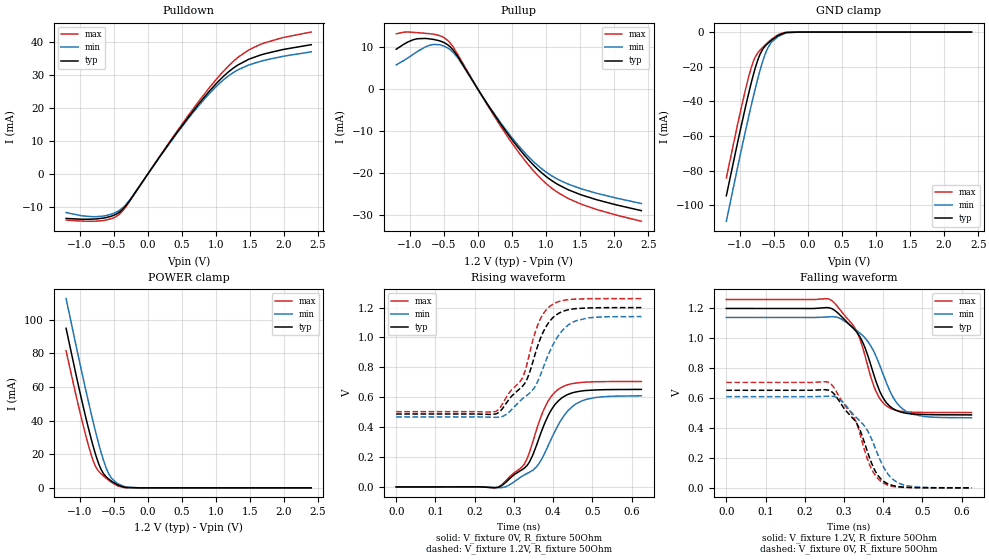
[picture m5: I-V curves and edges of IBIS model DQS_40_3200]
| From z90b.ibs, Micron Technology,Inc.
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| MODEL DQS_40_3200 (40 Ohm Data Strobe I/O with no ODT, 2933/3200Mbps)
[Model]   DQS_40_3200
Model_type   I/O
Vinl = 860.000mV
Vinh = 1060.000mV
Vmeas = 960.000mV
Vref = 1200.000mV
Cref = 0.0pF
Rref = 50.000Ohm
|   typ   min   max
|C_comp   1.049pF   0.999pF   1.100pF
C_comp_pullup   0.5245pF   0.4995pF   0.5500pF
C_comp_pulldown   0.5245pF   0.4995pF   0.5500pF
[Model Spec]
| Timing spec test load voltage corners
Vref   1.2000V   1.1400V   1.2600V
| Dynamic Overshoot Parameters from DDR4 Specification
|D_overshoot_ampl_h   0.40   NA   NA
|D_overshoot_ampl_l   0.40   NA   NA
|D_overshoot_area_h   0.0600n   NA   NA
|D_overshoot_area_l   0.0600n   NA   NA
[Voltage Range]   1.2000V   1.1400V   1.2600V
| Junction Temperature (Ambient temp is 35C typ, 95C min, 0C max)
[Temperature Range]   50.0   110.0   0.0
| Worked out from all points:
|   slope of the pulldown table from 0 to 0.18 V, typ, clamps not added: 33.4 ohm
|   slope of the pullup table from 0 to 0.18 V, typ, clamps not added: 39.3 ohm
|   GND clamp passes 1 mA (typ) near -0.38 V on its own axis
|   POWER clamp passes 1 mA (typ) near -0.39 V on its own axis
|   falling waveform, V_fixture 1.2V, R_fixture 50Ohm: 20-80 % time 66.8ps typ, 73.5ps min, 63.3ps max; typ from 1.2 V to 0.488 V
|   rising waveform, V_fixture 0V, R_fixture 50Ohm: 20-80 % time 68.3ps typ, 78.5ps min, 62.3ps max; typ from 0 V to 0.652 V
|   rising waveform, V_fixture 1.2V, R_fixture 50Ohm: 20-80 % time 75.1ps typ, 83.5ps min, 68.6ps max; typ from 0.488 V to 1.2 V
|   falling waveform, V_fixture 0V, R_fixture 50Ohm: 20-80 % time 73.3ps typ, 79.7ps min, 69.2ps max; typ from 0.653 V to 0 V
[Pulldown]
|   Voltage   I(typ)   I(min)   I(max)
-1.2V     -13.43mA   -11.66mA   -13.93mA
-754.8mV  -13.58mA   -12.9mA    -14.26mA
-517.1mV  -12.64mA   -12.03mA   -13.39mA
-423.8mV  -11.65mA   -11.1mA    -12.29mA
-270mV    -8.165mA   -7.973mA   -8.378mA
601.2mV   17.36mA    16.98mA    17.93mA
925mV     25.57mA    24.83mA    26.66mA
1.177V    30.79mA    29.6mA     32.55mA
1.479V    34.7mA     32.97mA    37.52mA
1.654V    36.02mA    34.12mA    39.24mA
1.963V    37.6mA     35.55mA    41.19mA
2.4V      39.15mA    37mA       42.99mA
[GND Clamp]
|   Voltage   I(typ)   I(min)   I(max)
-1.2V     -94.51mA   -109.2mA   -84.24mA
-1.036V   -64.1mA    -78.41mA   -53.66mA
-917.8mV  -43.12mA   -56.91mA   -33.02mA
-805.6mV  -25.07mA   -37.64mA   -17.24mA
-714mV    -13.7mA    -23.42mA   -10.84mA
-666.5mV  -10.01mA   -17.04mA   -8.855mA
-612mV    -7.375mA   -11.07mA   -6.793mA
-545.6mV  -5.017mA   -6.322mA   -4.491mA
-442.7mV  -2.105mA   -2.672mA   -1.609mA
-307.4mV  -214.1uA   -422uA     -99.1uA
-118.9mV  -745.9nA   -5.845uA   0A
2.402V    0A         0A         0A
[Pullup]
|   Voltage   I(typ)   I(min)   I(max)
-1.2V     9.581mA    5.839mA    13.27mA
-892.6mV  12.09mA    9.006mA    13.55mA
-672.2mV  11.98mA    10.67mA    13.23mA
-461.3mV  10.84mA    10.04mA    11.94mA
-285.6mV  7.582mA    7.277mA    8.03mA
121.7mV   -3.131mA   -3.034mA   -3.317mA
456.9mV   -11.11mA   -10.69mA   -11.84mA
744.8mV   -16.91mA   -16.17mA   -18.15mA
991.1mV   -20.73mA   -19.7mA    -22.41mA
1.177V    -22.81mA   -21.58mA   -24.75mA
1.509V    -25.22mA   -23.78mA   -27.45mA
2.4V      -29.04mA   -27.33mA   -31.58mA
[POWER Clamp]
|   Voltage   I(typ)   I(min)   I(max)
-1.2V     94.96mA    112.6mA    81.53mA
-1.053V   67.09mA    84.47mA    54.76mA
-919mV    43.33mA    59.74mA    32.42mA
-828.3mV  28.67mA    43.69mA    19.29mA
-793mV    23.47mA    37.71mA    15.21mA
-703.6mV  12.56mA    23.62mA    9.084mA
-610.6mV  6.555mA    11.8mA     5.673mA
-536.5mV  4.084mA    5.917mA    3.382mA
-452.8mV  1.964mA    2.761mA    1.364mA
-309.7mV  181.9uA    432.1uA    63.73uA
-118.9mV  410.4nA    5.836uA    0A
2.402V    0A         0A         0A
[Ramp]
R_load = 50
|   typ   min   max
dV/dt_r 3.9147E-01/6.8194E-11   3.6588E-01/7.8068E-11   4.2320E-01/6.1922E-11
dV/dt_f 4.2725E-01/6.6611E-11   4.0289E-01/7.3405E-11   4.5390E-01/6.3124E-11
[Falling Waveform]
V_fixture = 1.2V
V_fixture_min = 1.14V
V_fixture_max = 1.26V
R_fixture = 50Ohm
C_fixture = 0F
|   Time   V(typ)   V(min)   V(max)
0s        1.2V       1.14V      1.26V
263ps     1.204V     1.144V     1.262V
320ps     1.077V     1.079V     1.099V
340ps     1.013V     1.036V     999.6mV
355ps     927.1mV    998.2mV    869.7mV
377ps     748.4mV    906.4mV    674.3mV
405ps     580.3mV    723.8mV    555.1mV
434ps     517.2mV    570mV      517.8mV
469ps     495.5mV    498.1mV    506.9mV
625ps     487.9mV    468.5mV    503.5mV
[Rising Waveform]
V_fixture = 0V
V_fixture_min = 0V
V_fixture_max = 0V
R_fixture = 50Ohm
C_fixture = 0F
|   Time   V(typ)   V(min)   V(max)
0s        2.123uV    18.21uV    275.6nV
259ps     -3.194mV   -4.513mV   -2.126mV
320ps     113.8mV    70.22mV    131.4mV
337ps     156mV      94.59mV    211.2mV
357ps     273.9mV    132.9mV    376.9mV
377ps     416.1mV    217.4mV    520.9mV
411ps     569.3mV    404.1mV    648.4mV
439ps     620.1mV    513.2mV    684.9mV
473ps     642.1mV    575.1mV    699.5mV
625ps     652.4mV    609.8mV    705.3mV
[Rising Waveform]
V_fixture = 1.2V
V_fixture_min = 1.14V
V_fixture_max = 1.26V
R_fixture = 50Ohm
C_fixture = 0F
|   Time   V(typ)   V(min)   V(max)
0s        487.8mV    468.4mV    503.5mV
255ps     489.3mV    466mV      506.4mV
283ps     569.1mV    489.1mV    610.3mV
315ps     656.8mV    573.7mV    701.5mV
330ps     702.8mV    606.2mV    788.3mV
361ps     945.6mV    706.8mV    1.084V
392ps     1.111V     909.8mV    1.209V
421ps     1.17V      1.039V     1.245V
459ps     1.193V     1.112V     1.257V
625ps     1.2V       1.14V      1.26V
[Falling Waveform]
|Gnd
V_fixture = 0V
V_fixture_min = 0V
V_fixture_max = 0V
R_fixture = 50Ohm
C_fixture = 0F
|   Time   V(typ)   V(min)   V(max)
0s        652.7mV    610mV      705.4mV
259ps     654.5mV    613.1mV    707.4mV
287ps     583.8mV    596.8mV    612.7mV
324ps     461mV      490.4mV    478.4mV
353ps     296.3mV    410.9mV    247.3mV
371ps     160.5mV    322mV      121.4mV
393ps     62.54mV    181.2mV    45.41mV
417ps     21.64mV    76.27mV    14.16mV
451ps     4.821mV    19.91mV    2.827mV
625ps     51.14uV    41.87uV    21.85uV
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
